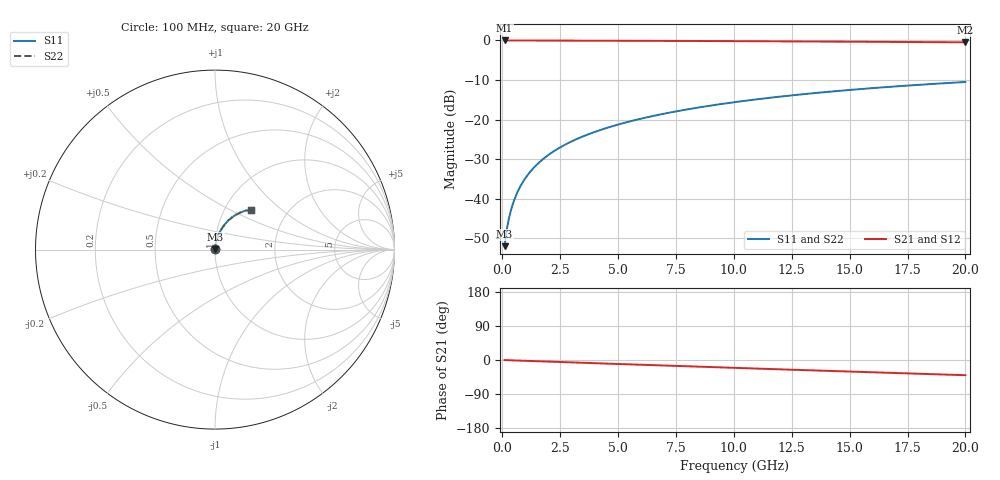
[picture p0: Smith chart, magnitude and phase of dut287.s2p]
! Touchstone file exported from HFSS 2026.1.0
!  File:  C:/ffzhzh/LocalFiles/Ansys_Project_Files/temp_train_BSMRDL_287_1782989210_6248.aedt
!  Generated:  06:48:04 PM Jul  2, 2026
!  Design:  BSMRDL
!  Project:  temp_train_BSMRDL_287_1782989210_6248
! Variables:
!  h_bsmrdl = 5.79um
!  h_ox = 20um
!  h_rdl = 5um
!  h_sub = 80um
!  h_tmrdl = 5um
!  h_tsv = 80um
!  h_via = 3um
!  l_bsmrdl = 622um
!  l_sub = 1022um
!  l_tmrdl = 200um
!  m_sub = 200um
!  pitch = 53.33um
!  r_tsv = 6um
!  s_tmrdl = 10um
!  w_bsmrdl = 29.11um
!  w_sub = 500um
!  w_tmrdl = 12um
!  x_tsv_center1 = 206um
!  x_tsv_center2 = 857.11um
!  x_tsv_center3 = 1069.11um
!  x_tsv_center4 = 1720.22um
!  x_tsv_center5 = 1932.22um
!  x_tsv_center6 = 2583.33um
# GHz S MA R 50.000000
! Terminal data exported
! Port[1] = BSM_RDL1_1_T1
! Port[2] = BSM_RDL1_1_T2
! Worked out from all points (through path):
!   200 points, 100 MHz to 20 GHz, reference 50 ohm
!   highest |S21| = -0.01 dB at 100 MHz (marker M1); lowest = -0.5 dB at 20 GHz (marker M2)
!   group delay of S21, straight-line fit = 5.56 ps
!   lowest |S11| = -52.0 dB at 100 MHz (marker M3), VSWR 1.01, Z = 50.2 + j0.201 ohm
!   |S11| at or under -10 dB: start of sweep to end of sweep
!   |S22| runs from -52.0 to -10.5 dB; largest |S21 - S12| = 3.6e-15
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0.1  0.002526 52.5  0.9985 -0.2  0.9985 -0.2  0.002526 52.5
! Gamma 0 0 0 0
! Port Impedance 50 0 50 0
0.2  0.004196 66.0  0.9983 -0.4  0.9983 -0.4  0.004196 66.0
0.3  0.005902 71.9  0.9982 -0.7  0.9982 -0.7  0.005902 71.9
0.4  0.007637 75.3  0.9982 -0.9  0.9982 -0.9  0.007637 75.3
0.5  0.009393 77.4  0.9981 -1.1  0.9981 -1.1  0.009393 77.4
0.7  0.01294 79.8  0.998 -1.5  0.998 -1.5  0.01294 79.8
0.8  0.01472 80.5  0.9979 -1.7  0.9979 -1.7  0.01472 80.5
1  0.01829 81.3  0.9977 -2.1  0.9977 -2.1  0.01829 81.3
1.2  0.02185 81.6  0.9975 -2.6  0.9975 -2.6  0.02185 81.6
1.4  0.0254 81.7  0.9973 -3.0  0.9973 -3.0  0.0254 81.7
1.7  0.0307 81.6  0.997 -3.6  0.997 -3.6  0.0307 81.6
2  0.03596 81.3  0.9966 -4.3  0.9966 -4.3  0.03596 81.3
2.7  0.04808 80.3  0.9955 -5.7  0.9955 -5.7  0.04808 80.3
3.5  0.06168 79.0  0.9942 -7.4  0.9942 -7.4  0.06168 79.0
4.2  0.07341 77.7  0.9929 -8.9  0.9929 -8.9  0.07341 77.7
5  0.08664 76.3  0.9914 -10.5  0.9914 -10.5  0.08664 76.3
6.8  0.1158 73.0  0.9876 -14.2  0.9876 -14.2  0.1158 73.0
8.3  0.1395 70.2  0.9839 -17.2  0.9839 -17.2  0.1395 70.2
10.1  0.1671 66.8  0.979 -20.9  0.979 -20.9  0.1671 66.8
13.4  0.215 60.5  0.9688 -27.4  0.9688 -27.4  0.215 60.5
16.7  0.259 54.3  0.9574 -33.8  0.9574 -33.8  0.259 54.3
20  0.2986 48.3  0.9454 -40.1  0.9454 -40.1  0.2986 48.3
